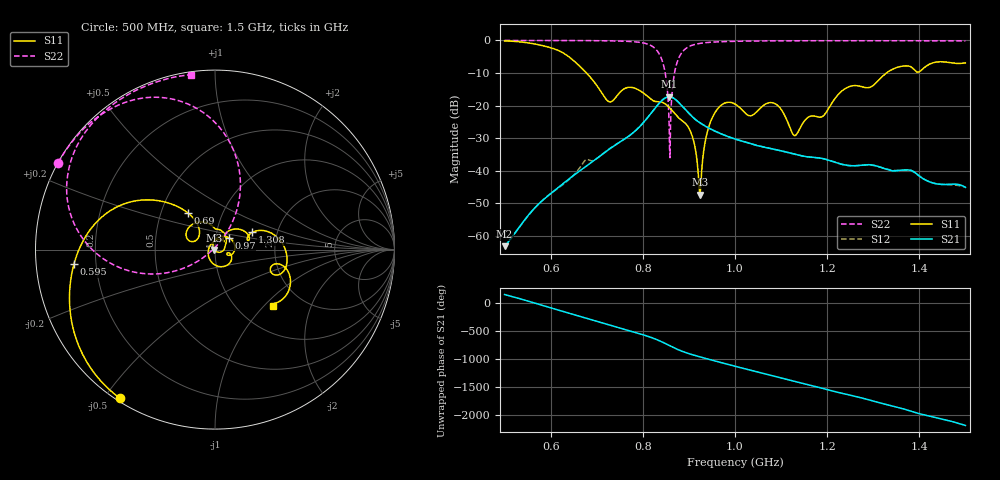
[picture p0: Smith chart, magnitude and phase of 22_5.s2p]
! TOUCHSTONE file generated by CST MICROWAVE STUDIO
! Date and time: Fri Oct  2 19:13:05 2020
! Project name: Scenario_1_Free_Space_out_of_line.cst
! Parameters = {Lambda=346.42; Step_1=17.321; dy1=-16.521; dx1=866; L_HA=400; MT=2.54; Rad_Dielectric=30; Rad_Lower=7.3; Rad_Upper=30; a_HA=580; a_WG=246; b_HA=500; b_WG=121; c_HA=0; c_WG=187; d_feed=85; h_feed=15; h_lower=18; h_upper=40}
! Header version: 2018
! Port assignment regex: !\s*Touchstone port\s*([0-9]+)\s*=\s*(CST MWS port|CST DS port)\s*([0-9]+|Zmin|Zmax)\s*\(\"(.*)\"\)(\s*mode\s*([0-9]+))?.*
! Touchstone port assignment:
! Touchstone port 1 = CST MWS port 1 ("")
! Touchstone port 2 = CST MWS port 2 ("")
# GHz S DB R 50
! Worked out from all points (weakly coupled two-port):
!   1003 points, 500 MHz to 1.5 GHz, reference 50 ohm
!   highest |S21| = -17.29 dB at 857 MHz (marker M1); lowest = -63.1 dB at 500 MHz (marker M2)
!   lowest |S11| = -47.4 dB at 924 MHz (marker M3), VSWR 1.01, Z = 49.6 - j0.235 ohm
!   |S11| at or under -10 dB: 677.8 MHz to 1.329 GHz (650.9 MHz wide, 64.9 % of centre)
!   |S22| runs from -36.0 to 0.0 dB; largest |S21 - S12| = 0.0031
!   S11 on the Smith chart (normalised r, x): 500 MHz: 0.01, -0.55; 595 MHz: 0.12, -0.05; 690 MHz: 0.69, +0.30; 970 MHz: 1.15, +0.16; 1.308 GHz: 1.49, +0.30; 1.5 GHz: 1.43, -1.14
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0.5  -0.15 -122.6  -63.14 144.0  -63.14 144.0  -0.01 151.1
0.595  -2.05 -174.1  -47.58 -80.2  -47.53 -90.8  -0.02 144.4
0.667  -8.46 135.9  -39.64 108.7  -38.28 115.7  -0.04 138.2
0.69  -11.96 126.4  -37.28 55.0  -36.94 51.3  -0.06 135.8
0.727  -18.82 143.6  -33.38 -33.3  -33.29 -31.8  -0.12 131.1
0.772  -14.37 139.3  -29.10 -141.6  -29.11 -141.6  -0.31 122.5
0.834  -18.81 83.7  -19.50 51.6  -19.51 51.5  -3.77 85.4
0.848  -19.42 64.1  -17.68 -1.2  -17.72 -1.4  -9.57 65.4
0.857  -20.50 50.4  -17.29 -37.9  -17.33 -38.1  -25.53 56.8
0.878  -23.78 25.0  -19.08 -118.4  -19.03 -118.8  -5.37 -169.2
0.906  -28.86 -21.4  -23.22 160.5  -23.26 160.3  -1.52 165.0
0.924  -47.37 -146.4  -25.28 118.5  -25.28 118.3  -0.90 156.5
0.942  -27.04 98.9  -26.80 77.9  -26.80 77.9  -0.62 150.8
0.97  -19.89 41.5  -28.67 16.6  -28.68 16.6  -0.39 144.8
1  -19.50 -7.7  -30.26 -47.6  -30.23 -47.5  -0.27 140.1
1.033  -23.14 -18.3  -31.63 -115.1  -31.63 -116.3  -0.19 136.1
1.087  -19.41 -61.0  -33.45 130.9  -33.46 130.9  -0.13 130.8
1.129  -29.20 160.8  -34.92 43.8  -34.92 44.0  -0.11 127.2
1.167  -23.18 46.4  -35.85 -31.9  -35.87 -32.1  -0.10 124.1
1.308  -12.76 24.8  -38.57 36.3  -38.60 36.4  -0.09 113.4
1.334  -9.47 14.7  -39.75 -16.5  -39.65 -18.6  -0.09 111.4
1.5  -6.88 -44.2  -45.09 -17.9  -45.01 -17.8  -0.14 97.8
